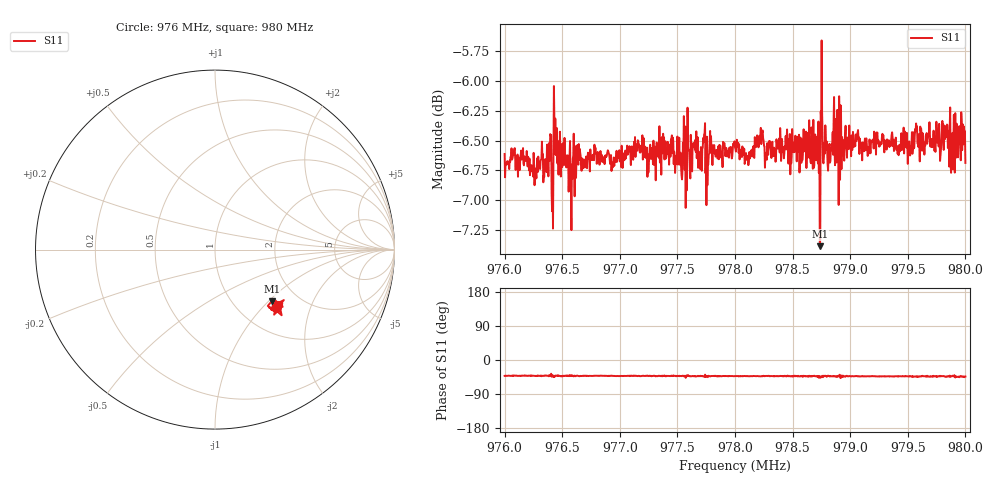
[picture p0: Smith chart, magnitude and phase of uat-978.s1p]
! Calibrated averaged scanner-service zoom
# Hz S RI R 50
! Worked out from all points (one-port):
!   1001 points, 976 MHz to 980 MHz, reference 50 ohm
!   lowest |S11| = -7.4 dB at 978.736 MHz (marker M1), VSWR 2.49, Z = 74.3 - j52.2 ohm
!   |S11| at or under -10 dB: nowhere
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9.76e8  0.3479 -0.3116
9.764e8  0.3607 -0.3097
9.76428e8  0.3626 -0.3424
9.76444e8  0.3496 -0.309
9.76456e8  0.3494 -0.3051
9.765e8  0.3439 -0.3073
9.76564e8  0.3581 -0.2979
9.76632e8  0.354 -0.3109
9.77e8  0.344 -0.311
9.775e8  0.3552 -0.3154
9.78e8  0.3459 -0.3185
9.785e8  0.3493 -0.3169
9.78692e8  0.3456 -0.3191
9.7872e8  0.3413 -0.3126
9.78736e8  0.3162 -0.2875
9.78772e8  0.3496 -0.308
9.78812e8  0.3467 -0.3115
9.78876e8  0.3375 -0.3303
9.78892e8  0.3558 -0.3198
9.79e8  0.3487 -0.3185
9.795e8  0.3368 -0.3172
9.79568e8  0.3453 -0.3296
9.798e8  0.3545 -0.3269
9.79836e8  0.3402 -0.3311
9.79884e8  0.3468 -0.3133
9.79928e8  0.3334 -0.3283
9.79968e8  0.3468 -0.3344
9.8e8  0.3356 -0.3191
